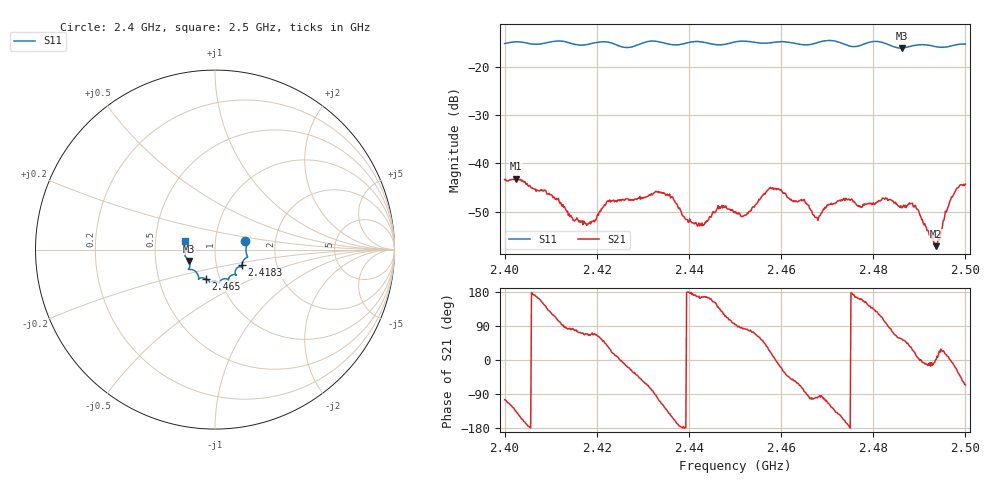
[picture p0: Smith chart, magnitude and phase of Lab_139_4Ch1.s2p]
# Hz S RI R 50
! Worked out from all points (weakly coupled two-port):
!   601 points, 2.4 GHz to 2.5 GHz, reference 50 ohm
!   highest |S21| = -43.15 dB at 2.4025 GHz (marker M1); lowest = -57.2 dB at 2.4937 GHz (marker M2)
!   lowest |S11| = -16.1 dB at 2.4862 GHz (marker M3), VSWR 1.37, Z = 37.1 - j4.83 ohm
!   |S11| at or under -10 dB: start of sweep to end of sweep
!   S12 and S22 are empty: the file has one direction only
!   S11 on the Smith chart (normalised r, x): 2.4 GHz: 1.40, +0.13; 2.4183 GHz: 1.33, -0.24; 2.465 GHz: 0.86, -0.29; 2.5 GHz: 0.71, +0.07
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2.4e9  0.1694 0.0458  -0.00174 -0.00657  0 0  0 0
2.4025e9  0.1799 0.035  -0.005 -0.00484  0 0  0 0
2.416667e9  0.1548 -0.0679  0.000825 0.00238  0 0  0 0
2.418333e9  0.15 -0.0869  0.000942 0.00218  0 0  0 0
2.422667e9  0.1513 -0.0986  0.00341 0.00212  0 0  0 0
2.433333e9  0.1177 -0.1411  -0.00117 -0.00498  0 0  0 0
2.442167e9  0.0741 -0.1684  -0.00236 0.000494  0 0  0 0
2.446667e9  0.047 -0.1638  -0.00255 0.00247  0 0  0 0
2.45e9  0.0253 -0.181  -0.000163 0.00307  0 0  0 0
2.452333e9  0.0207 -0.1844  0.000455 0.00289  0 0  0 0
2.457667e9  -0.0153 -0.178  0.00527 0.00201  0 0  0 0
2.465e9  -0.0524 -0.1619  0.000534 -0.00419  0 0  0 0
2.466667e9  -0.0715 -0.1574  -0.000745 -0.00313  0 0  0 0
2.468e9  -0.084 -0.1595  -0.000372 -0.00254  0 0  0 0
2.473667e9  -0.0933 -0.146  -0.00404 -0.00161  0 0  0 0
2.477167e9  -0.1237 -0.1131  -0.00336 0.00128  0 0  0 0
2.483333e9  -0.1413 -0.0964  0.000236 0.00419  0 0  0 0
2.486167e9  -0.1441 -0.0635  0.00195 0.00288  0 0  0 0
2.489333e9  -0.1646 -0.0395  0.00337 0.000633  0 0  0 0
2.493667e9  -0.1623 -0.0128  0.00138 4.17e-05  0 0  0 0
2.497e9  -0.1639 0.0279  0.00447 -0.000433  0 0  0 0
2.5e9  -0.1667 0.0469  0.0025 -0.00557  0 0  0 0
